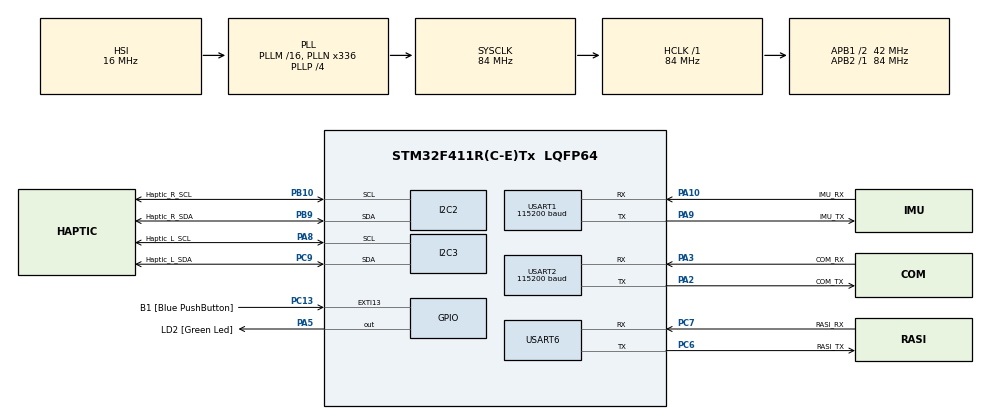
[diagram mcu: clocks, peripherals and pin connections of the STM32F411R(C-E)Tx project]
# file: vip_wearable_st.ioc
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Dma.Request0=USART1_RX
Dma.Request1=USART6_RX
Dma.USART1_RX.0.Direction=DMA_PERIPH_TO_MEMORY
Dma.USART1_RX.0.FIFOMode=DMA_FIFOMODE_DISABLE
Dma.USART1_RX.0.Instance=DMA2_Stream2
Dma.USART1_RX.0.MemDataAlignment=DMA_MDATAALIGN_BYTE
Dma.USART1_RX.0.MemInc=DMA_MINC_ENABLE
Dma.USART1_RX.0.Mode=DMA_CIRCULAR
Dma.USART1_RX.0.PeriphDataAlignment=DMA_PDATAALIGN_BYTE
Dma.USART1_RX.0.PeriphInc=DMA_PINC_DISABLE
Dma.USART1_RX.0.Priority=DMA_PRIORITY_LOW
Dma.USART6_RX.1.Direction=DMA_PERIPH_TO_MEMORY
Dma.USART6_RX.1.FIFOMode=DMA_FIFOMODE_DISABLE
Dma.USART6_RX.1.Instance=DMA2_Stream1
Dma.USART6_RX.1.MemDataAlignment=DMA_MDATAALIGN_BYTE
Dma.USART6_RX.1.MemInc=DMA_MINC_ENABLE
Dma.USART6_RX.1.Mode=DMA_NORMAL
Dma.USART6_RX.1.PeriphDataAlignment=DMA_PDATAALIGN_BYTE
Dma.USART6_RX.1.PeriphInc=DMA_PINC_DISABLE
Dma.USART6_RX.1.Priority=DMA_PRIORITY_LOW
I2C3.I2C_Mode=I2C_Standard
Mcu.Family=STM32F4
Mcu.Name=STM32F411R(C-E)Tx
Mcu.Package=LQFP64
NVIC.DMA2_Stream1_IRQn=true\:0\:0\:false\:false\:true\:false\:true\:true
NVIC.DMA2_Stream2_IRQn=true\:0\:0\:false\:false\:true\:false\:true\:true
NVIC.PriorityGroup=NVIC_PRIORITYGROUP_0
NVIC.USART1_IRQn=true\:0\:0\:false\:false\:true\:true\:true\:true
NVIC.USART6_IRQn=true\:0\:0\:false\:false\:true\:true\:true\:true
PA10.GPIO_Label=IMU_RX
PA10.Mode=Asynchronous
PA10.Signal=USART1_RX
PA13.GPIO_Label=TMS
PA13.Mode=Serial_Wire
PA13.Signal=SYS_JTMS-SWDIO
PA14.GPIO_Label=TCK
PA14.Mode=Serial_Wire
PA14.Signal=SYS_JTCK-SWCLK
PA2.GPIO_Label=COM_TX
PA2.Mode=Asynchronous
PA2.Signal=USART2_TX
PA3.GPIO_Label=COM_RX
PA3.Mode=Asynchronous
PA3.Signal=USART2_RX
PA5.GPIO_Label=LD2 [Green Led]
PA5.Signal=GPIO_Output
PA8.GPIO_Label=Haptic_L_SCL
PA8.Mode=I2C
PA8.Signal=I2C3_SCL
PA9.GPIO_Label=IMU_TX
PA9.Mode=Asynchronous
PA9.Signal=USART1_TX
PB10.GPIO_Label=Haptic_R_SCL
PB10.Mode=I2C
PB10.Signal=I2C2_SCL
PB3.GPIO_Label=SWO
PB3.Signal=SYS_JTDO-SWO
PB9.GPIO_Label=Haptic_R_SDA
PB9.Mode=I2C
PB9.Signal=I2C2_SDA
PC13-ANTI_TAMP.GPIO_Label=B1 [Blue PushButton]
PC13-ANTI_TAMP.GPIO_ModeDefaultEXTI=GPIO_MODE_IT_FALLING
PC13-ANTI_TAMP.Signal=GPXTI13
PC14-OSC32_IN.Mode=LSE-External-Oscillator
PC14-OSC32_IN.Signal=RCC_OSC32_IN
PC15-OSC32_OUT.Mode=LSE-External-Oscillator
PC15-OSC32_OUT.Signal=RCC_OSC32_OUT
PC6.GPIO_Label=RASI_TX
PC6.Mode=Asynchronous
PC6.Signal=USART6_TX
PC7.GPIO_Label=RASI_RX
PC7.Mode=Asynchronous
PC7.Signal=USART6_RX
PC9.GPIO_Label=Haptic_L_SDA
PC9.Mode=I2C
PC9.Signal=I2C3_SDA
PH0\ -\ OSC_IN.Mode=HSE-External-Clock-Source
PH0\ -\ OSC_IN.Signal=RCC_OSC_IN
PH1\ -\ OSC_OUT.Mode=HSE-External-Clock-Source
PH1\ -\ OSC_OUT.Signal=RCC_OSC_OUT
ProjectManager.HeapSize=0x200
ProjectManager.StackSize=0x400
ProjectManager.TargetToolchain=STM32CubeIDE
RCC.48MHZClocksFreq_Value=84000000
RCC.AHBFreq_Value=84000000
RCC.APB1CLKDivider=RCC_HCLK_DIV2
RCC.APB1Freq_Value=42000000
RCC.APB1TimFreq_Value=84000000
RCC.APB2Freq_Value=84000000
RCC.APB2TimFreq_Value=84000000
RCC.CortexFreq_Value=84000000
RCC.FLatency-AdvancedSettings=FLASH_LATENCY_2
RCC.HCLKFreq_Value=84000000
RCC.HSE_VALUE=8000000
RCC.HSI_VALUE=16000000
RCC.PLLN=336
RCC.PLLP=RCC_PLLP_DIV4
RCC.SYSCLKFreq_VALUE=84000000
RCC.SYSCLKSource=RCC_SYSCLKSOURCE_PLLCLK
RCC.VCOOutputFreq_Value=336000000
USART1.BaudRate=115200
USART1.VirtualMode=VM_ASYNC
USART2.BaudRate=115200
USART2.VirtualMode=VM_ASYNC
USART6.VirtualMode=VM_ASYNC
board=NUCLEO-F411RE

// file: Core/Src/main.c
/* USER CODE BEGIN Header */
/**
 ******************************************************************************
 * @file           : main.c
 * @brief          : Main program body
 ******************************************************************************
 * @attention
 *
 * Copyright (c) 2026 STMicroelectronics.
 * All rights reserved.
 *
 * This software is licensed under terms that can be found in the LICENSE file
 * in the root directory of this software component.
 * If no LICENSE file comes with this software, it is provided AS-IS.
 *
 ******************************************************************************
 */
/* USER CODE END Header */
#include "main.h"
#include "dma.h"
#include "i2c.h"
#include "usart.h"
#include "gpio.h"

/* USER CODE BEGIN Includes */
#include "drv2605_i2c.h"
#include "ebimu_uart.h"
#include "fall_detection.h"
/* USER CODE END Includes */

/* USER CODE BEGIN PD */
#define RX_DATA_SIZE 7

#define HAPTIC_ROTATE_PERIOD    250  // 회전 햅틱 제어 주기
#define HAPTIC_UPDATE_PERIOD    50   // 직진 햅틱 제어 주기
#define SERIAL_PERIOD    100  // 시리얼 전송 주기
/* USER CODE END PD */

/* USER CODE BEGIN PV */

DRV2605L_t Haptic_L;
DRV2605L_t Haptic_R;
EBIMU_t Heading;

uint8_t rx_buffer[RX_DATA_SIZE];               // 라즈베리파이로부터 받을 7바이트 수신 버퍼
uint8_t system_active_flag = 0;     // 0: 대기, 1: 구동
uint8_t feedback_flag = 0;          // 0: 일반, 1: 회피
uint32_t last_uart_tx_tick = 0;

float app_angle_error = 0.0f;

/* USER CODE END PV */

void SystemClock_Config(void);

int main(void) {

	/* MCU Configuration--------------------------------------------------------*/

	/* Reset of all peripherals, Initializes the Flash interface and the Systick. */
	HAL_Init();

	/* Configure the system clock */
	SystemClock_Config();

	/* Initialize all configured peripherals */
	MX_GPIO_Init();
	MX_DMA_Init();
	MX_USART2_UART_Init();
	MX_I2C3_Init();
	MX_I2C2_Init();
	MX_USART1_UART_Init();
	MX_USART6_UART_Init();
	/* USER CODE BEGIN 2 */

	HAL_Delay(200); // 안정화 대기
	while (DRV2605L_Init(&hi2c2, &Haptic_R)) {
		printf("drv2605l_R 센서 연결 실패\r\n");
		DRV2605L_Reconnect(&Haptic_R);
		HAL_Delay(1000);
	}
	printf("drv2605l_R 센서 연결 완료\r\n");

	HAL_Delay(200); // 센서 안정화 대기
	while (DRV2605L_Init(&hi2c3, &Haptic_L)) {
		printf("drv2605l_L 센서 연결 실패\r\n");
		DRV2605L_Reconnect(&Haptic_L);
		HAL_Delay(1000);
	}
	printf("drv2605l_L 센서 연결 완료\r\n");

	HAL_Delay(200); // 센서 안정화 대기
	while (EBIMU_Init(&huart1, &Heading)) {
		printf("EBIMU 센서 연결 실패\r\n");
		HAL_Delay(1000);
	}
	printf("EBIMU 센서 연결 완료\r\n");
	HAL_Delay(200); // 센서 안정화 대기.

	EBIMU_FORMAT_EulerAngles(&Heading);
	HAL_Delay(200); // 센서 안정화 대기

	EBIMU_SET_GYRO(&Heading);
	HAL_Delay(200); // 센서 안정화 대기

	EBIMU_RESET_ACCELERO(&Heading, 1);
	HAL_Delay(200); // 센서 안정화 대기

	EBIMU_OUTPUT_HEX(&Heading);
//	EBIMU_OUTPUT_ASCII(&Heading);
	HAL_Delay(200); // 센서 안정화 대기

	FallDetection_Init();

	uint32_t last_haptic_tick = HAL_GetTick();
	uint32_t last_log_tick = HAL_GetTick();
	uint32_t last_feedback_toggle_tick = HAL_GetTick();

	uint8_t feedback_output_state = 0; // 1: 진동 ON, 0: 진동 OFF
	HAL_UART_Receive_IT(&huart6, rx_buffer, RX_DATA_SIZE);
	/* USER CODE END 2 */

	/* Infinite loop */
	/* USER CODE BEGIN WHILE */
	while (1) {
		// BLE 연결 상태 플래그에 따른 최상위 흐름 분기 통제
		if (system_active_flag == 1) {
			// 구동 상태일 때만 백그라운드 DMA 버퍼 데이터에서 오일러 각도 실시간 해독
			EBIMU_Get_Euler_Angle(&Heading);

			if (feedback_flag == 1) {
				// 500ms 간격으로 ON / OFF 토글 제어
				if (HAL_GetTick() - last_feedback_toggle_tick >= HAPTIC_ROTATE_PERIOD) {
					last_feedback_toggle_tick = HAL_GetTick();
					feedback_output_state = !feedback_output_state; // 상태 반전 (1 -> 0 -> 1 ...)
				}

				// 토글 상태 및 HAPTIC_UPDATE_PERIOD 주기에 맞춰 출력 반영
				if (HAL_GetTick() - last_haptic_tick >= HAPTIC_UPDATE_PERIOD) {
					last_haptic_tick = HAL_GetTick();

					if (feedback_output_state == 1) {
						// 진동 ON 구간: 받은 값에 따라 세기 가변 제어
						DRV2605L_UpdateHapticFeedback(&Haptic_L, &Haptic_R, (int16_t) app_angle_error);
					} else {
						// 진동 OFF 구간: 세기를 0으로 만들어 정지
						DRV2605L_UpdateHapticFeedback(&Haptic_L, &Haptic_R, 0);
					}
				}
			} else if (feedback_flag == 0) {
				// 주기마다 낙상 검사 및 가변 햅틱 제어
				if (HAL_GetTick() - last_haptic_tick >= HAPTIC_UPDATE_PERIOD) {
					last_haptic_tick = HAL_GetTick();

					// 라파로부터 가로챈 앱의 실제 경로 편차 오차 값에 기반하여 좌우 모터 실시간 RTP 세기 가변 분기 제어 실행
					DRV2605L_UpdateHapticFeedback(&Haptic_L, &Haptic_R, (int16_t) app_angle_error);
				}
			}

			// 낙상 감지 비상 상황 시 양쪽 모터 고정 강력 경보 진동
			if (FallDetection_Update(&Heading))
				DRV2605L_UpdateHapticFeedback(&Haptic_L, &Haptic_R, 50);

			// 라즈베리파이로 100ms 마다 최신 수집된 Yaw 방위각 실시간 송출
			if (HAL_GetTick() - last_log_tick >= 100) {
				last_log_tick = HAL_GetTick();

				uint8_t tx_packet[9];
				tx_packet[0] = 0xAA;
				memcpy(&tx_packet[1], &Heading.yaw, sizeof(float));
				memcpy(&tx_packet[5], &Heading.pitch, sizeof(float));

				HAL_UART_Transmit(&huart6, tx_packet, sizeof(tx_packet), 10);
			}

		} else {
//			DRV2605L_UpdateHapticFeedback(&Haptic_L, &Haptic_R, 0);

			// BLE 미연결 시 센서들한테 값도 안 받고 안 주며 초저전력 대기
			HAL_Delay(500);
		}
		/* USER CODE END WHILE */

	}
}

void SystemClock_Config(void) {
	RCC_OscInitTypeDef RCC_OscInitStruct = { 0 };
	RCC_ClkInitTypeDef RCC_ClkInitStruct = { 0 };

	/** Configure the main internal regulator output voltage
	 */
	__HAL_RCC_PWR_CLK_ENABLE();
	__HAL_PWR_VOLTAGESCALING_CONFIG(PWR_REGULATOR_VOLTAGE_SCALE1);

	/** Initializes the RCC Oscillators according to the specified parameters
	 * in the RCC_OscInitTypeDef structure.
	 */
	RCC_OscInitStruct.OscillatorType = RCC_OSCILLATORTYPE_HSI;
	RCC_OscInitStruct.HSIState = RCC_HSI_ON;
	RCC_OscInitStruct.HSICalibrationValue = RCC_HSICALIBRATION_DEFAULT;
	RCC_OscInitStruct.PLL.PLLState = RCC_PLL_ON;
	RCC_OscInitStruct.PLL.PLLSource = RCC_PLLSOURCE_HSI;
	RCC_OscInitStruct.PLL.PLLM = 16;
	RCC_OscInitStruct.PLL.PLLN = 336;
	RCC_OscInitStruct.PLL.PLLP = RCC_PLLP_DIV4;
	RCC_OscInitStruct.PLL.PLLQ = 4;
	if (HAL_RCC_OscConfig(&RCC_OscInitStruct) != HAL_OK) {
		Error_Handler();
	}

	/** Initializes the CPU, AHB and APB buses clocks
	 */
	RCC_ClkInitStruct.ClockType = RCC_CLOCKTYPE_HCLK | RCC_CLOCKTYPE_SYSCLK | RCC_CLOCKTYPE_PCLK1 | RCC_CLOCKTYPE_PCLK2;
	RCC_ClkInitStruct.SYSCLKSource = RCC_SYSCLKSOURCE_PLLCLK;
	RCC_ClkInitStruct.AHBCLKDivider = RCC_SYSCLK_DIV1;
	RCC_ClkInitStruct.APB1CLKDivider = RCC_HCLK_DIV2;
	RCC_ClkInitStruct.APB2CLKDivider = RCC_HCLK_DIV1;

	if (HAL_RCC_ClockConfig(&RCC_ClkInitStruct, FLASH_LATENCY_2) != HAL_OK) {
		Error_Handler();
	}
}

/* USER CODE BEGIN 4 */
void HAL_UART_RxCpltCallback(UART_HandleTypeDef *huart) {
	if (huart->Instance == USART1) {

	} else if (huart->Instance == USART6) {
		// 프로토콜 헤더 0xAA 검증 가드
		if (rx_buffer[0] == 0xAA) {
			uint8_t cmd_flag = rx_buffer[5]; // 6번째 바이트(상태 플래그)
			uint8_t fb_flag = rx_buffer[6]; // 7번째 바이트(모드 플래그)
			if (cmd_flag == 0x01) {
				system_active_flag = 1; // ST 보드 구동 모드 전환
			} else if (cmd_flag == 0x00) {
				system_active_flag = 0; // ST 보드 대기/초기화 모드 전환

				// 대기 동작 진입 시 안전을 위해 진동 모터 드라이버 출력을 완전히 차단
				app_angle_error = 0.0f;
				DRV2605L_UpdateHapticFeedback(&Haptic_L, &Haptic_R, 0);
			}
			if (fb_flag == 0x00)
				feedback_flag = 0;
			else if (fb_flag == 0x01)
				feedback_flag = 1;

			// 구동 중일 때, 라파를 거쳐 들어오는 4바이트 실시간 경로 오차(Float) 데이터를 추출하여 내부 제어 변수에 동기화 수용
			if (system_active_flag == 1) {
				// 빅엔디안 구조의 패킷 실수 복원 연산 수행 (라파 전송 포맷과 1:1 디코드 매칭)
				uint32_t temp_bits = ((uint32_t) rx_buffer[1] << 24) | ((uint32_t) rx_buffer[2] << 16) | ((uint32_t) rx_buffer[3] << 8) | ((uint32_t) rx_buffer[4]);

				// 비트 재매핑을 통해 순수 float 자료형 변수로 메모리 캐스팅 복원
				memcpy(&app_angle_error, &temp_bits, sizeof(float));
			}
		}
		HAL_UART_Receive_IT(&huart6, rx_buffer, RX_DATA_SIZE);
	}
}

int _write(int fd, char *ptr, int len) {
	HAL_UART_Transmit(&huart2, (uint8_t*) ptr, len, HAL_MAX_DELAY);
	return len;
}
/* USER CODE END 4 */

void Error_Handler(void) {
	__disable_irq();
	while (1) {
	}
}
